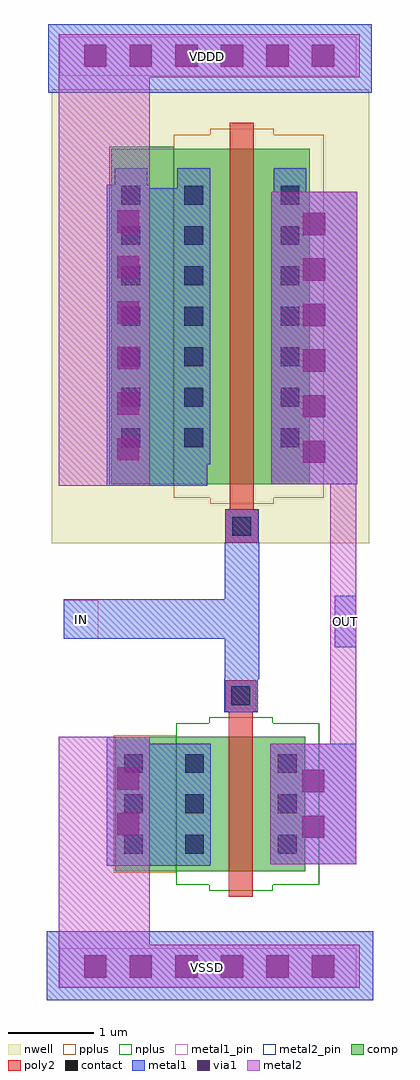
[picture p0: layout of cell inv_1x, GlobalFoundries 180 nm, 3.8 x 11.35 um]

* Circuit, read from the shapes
.subckt inv_1x IN OUT VDDD VSSD
XM1 OUT IN VSSD VSSD nfet_03v3 w=1.56u l=0.28u
XM2 OUT IN VDDD VDDD pfet_03v3 w=3.9u l=0.28u
.ends

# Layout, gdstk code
import gdstk
lib = gdstk.Library(unit=1e-6, precision=1e-09)
def R(c, l, rs):  # rectangles x0, y0, x1, y1
    for r in rs: c.add(gdstk.rectangle(r[:2], r[2:], *l))
def A(c, l, x, y, w, h, nx, ny, dx, dy):  # array of equal rectangles
    R(c, l, [(x+i*dx, y+j*dy, x+i*dx+w, y+j*dy+h) for i in range(nx) for j in range(ny)])
nwell = (21, 0)
comp = (22, 0)
poly2 = (30, 0)
pplus = (31, 0)
nplus = (32, 0)
contact = (33, 0)
metal1 = (34, 0)
metal1_pin = (34, 10)
via1 = (35, 0)
metal2 = (36, 0)
metal2_pin = (36, 10)

inv_1x = lib.new_cell('inv_1x')
R(inv_1x, nwell, [(-0.54,-2.69,3.15,2.59)])
R(inv_1x, comp, [(0.2,-6.5,2.41,-4.94), (0.15,-2,2.46,1.9)])
R(inv_1x, poly2, [(1.52,-6.8,1.8,-4.64), (1.48,-4.64,1.84,-4.28), (1.48,-2.68,1.86,-2.3), (1.53,-2.3,1.81,2.2)])
R(inv_1x, pplus, [(0.18,-6.52,0.91,-4.92), (1.3,-2.23,2.04,-2.16), (0.88,-2.16,2.62,2.06), (1.3,2.06,2.04,2.13)])
R(inv_1x, nplus, [(1.29,-6.73,2.03,-6.66), (0.91,-6.66,2.57,-4.78), (1.29,-4.78,2.03,-4.71), (0.13,-2.02,0.88,1.92)])
A(inv_1x, contact, 0.3, -6.3, 0.22, 0.22, 1, 3, 0, 0.47)
A(inv_1x, contact, 1.01, -6.3, 0.22, 0.22, 1, 3, 0, 0.47)
A(inv_1x, contact, 2.09, -6.3, 0.22, 0.22, 1, 3, 0, 0.47)
A(inv_1x, contact, 0.27, -1.57, 0.22, 0.22, 1, 7, 0, 0.47)
A(inv_1x, contact, 1, -1.57, 0.22, 0.22, 1, 7, 0, 0.47)
A(inv_1x, contact, 2.12, -1.57, 0.22, 0.22, 1, 7, 0, 0.47)
R(inv_1x, contact, [(1.55,-4.57,1.77,-4.35), (1.56,-2.6,1.78,-2.38)])
R(inv_1x, metal1, [(-0.6,-8,3.2,-7.2), (0.1,-6.44,1.3,-6.42), (0.1,-6.42,1.31,-5.02), (2,-6.42,3,-5.02), (0.1,-5.02,0.6,-4.94), (1.465,-4.655,1.855,-4.27), (1.465,-4.27,1.87,-4.265), (1.47,-4.265,1.87,-3.8), (2.75,-3.9,3,-3.3), (-0.4,-3.8,1.87,-3.34), (1.47,-3.34,1.87,-2.68), (1.475,-2.68,1.865,-2.295), (0.1,-2.02,1.27,-1.77), (2.01,-2,3.01,1.4), (0.1,-1.77,1.3,1.44), (2.04,1.4,2.42,1.67), (0.1,1.44,0.6,1.48), (0.92,1.44,1.3,1.67), (0.19,1.48,0.57,1.67), (-0.58,2.55,3.18,3.35)])
R(inv_1x, metal1_pin, [(-0.45,-7.85,3,-7.4), (-0.4,-3.8,0,-3.35), (-0.45,2.75,3,3.2)])
A(inv_1x, via1, -0.165, -7.74, 0.26, 0.26, 6, 2, 0.53, 10.59)
A(inv_1x, via1, 2.38, -1.755, 0.26, 0.26, 1, 6, 0, 0.53)
A(inv_1x, via1, 0.22, -1.725, 0.26, 0.26, 1, 6, 0, 0.53)
R(inv_1x, via1, [(2.37,-6.115,2.63,-5.855), (0.22,-6.085,0.48,-5.825), (2.37,-5.585,2.63,-5.325), (0.22,-5.555,0.48,-5.295)])
R(inv_1x, metal2, [(-0.46,-7.86,3.04,-7.36), (-0.46,-7.36,0.6,-4.94), (2,-6.42,3,-5.02), (2.7,-5.02,3,-2), (-0.46,-2.02,0.6,2.73), (2.01,-2,3.01,1.4), (-0.46,2.73,3.04,3.23)])
R(inv_1x, metal2_pin, [(2.75,-3.9,3,-3.3)])
inv_1x.add(gdstk.Label('IN', (-0.2,-3.575), layer=34, texttype=10))
inv_1x.add(gdstk.Label('VDDD', (1.275,2.975), layer=34, texttype=10))
inv_1x.add(gdstk.Label('VSSD', (1.275,-7.625), layer=34, texttype=10))
inv_1x.add(gdstk.Label('OUT', (2.875,-3.6), layer=36, texttype=10))

lib.write_gds('inv_1x.gds')
